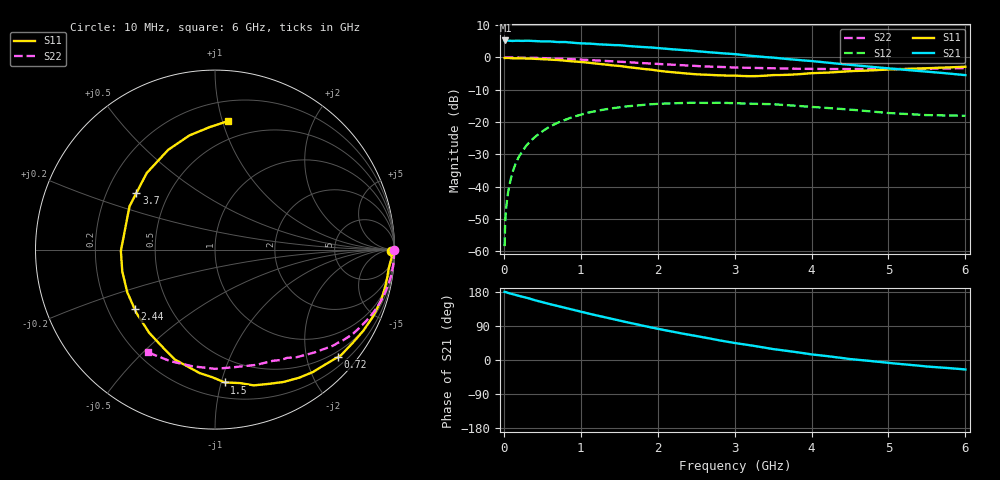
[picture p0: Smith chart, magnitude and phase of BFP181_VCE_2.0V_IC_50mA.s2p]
! Infineon Technologies  Discrete & RF Semiconductors
! BFP181
! VCE = 2.0 V,  IC =  50 mA
! Common Emitter S-Parameters:  Jan 2016
# GHz  S  MA  R  50
!  f  S11  S21  S12  S22
! GHz  MAG  ANG  MAG  ANG  MAG  ANG  MAG  ANG
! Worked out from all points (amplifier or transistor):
!   210 points, 10 MHz to 6 GHz, reference 50 ohm
!   highest |S21| = 5.3 dB at 20 MHz (marker M1)
!   |S21| within 3 dB of that: start of sweep to 2.343 GHz
!   unconditionally stable (mu >= 1): 3.623 GHz to end of sweep
!   at 185 MHz: K = 0.06, MSG = 18.2 dB, |S12| = -31.2 dB
!   at 1.52 GHz: K = 0.46, MSG = 9.6 dB, |S12| = -15.4 dB
!   at 6 GHz: K = 1.47, MAG = 2.2 dB, |S12| = -18.0 dB
!   S11 on the Smith chart (normalised r, x): 10 MHz: 81, -46; 720 MHz: 0.38, -2.62; 1.5 GHz: 0.31, -1.03; 2.44 GHz: 0.31, -0.30; 3.7 GHz: 0.33, +0.29; 6 GHz: 0.35, +1.04
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0.01  0.9815 -0.6  1.82 179.9  0.0012 85.2  0.9997 -0.2
0.015  0.9806 -0.9  1.827 179.7  0.0022 88.4  0.9996 -0.3
0.02  0.9797 -1.2  1.834 179.6  0.0032 89.6  0.9995 -0.5
0.045  0.9845 -2.4  1.826 177.8  0.0067 90.8  0.9987 -1.2
0.085  0.977 -4.8  1.804 175.4  0.0124 85.7  0.9982 -2.4
0.14  0.9725 -8.1  1.812 172.4  0.0208 84.1  0.9973 -3.8
0.19  0.9712 -10.9  1.816 169.6  0.0282 82.0  0.9962 -5.2
0.3  0.9672 -17.2  1.819 164.2  0.0444 77.6  0.9917 -8.3
0.4  0.9561 -22.9  1.799 158.0  0.0582 73.8  0.987 -11.1
0.72  0.91 -41.1  1.731 141.3  0.0998 61.0  0.9586 -19.5
1.02  0.849 -57.8  1.651 126.4  0.1321 49.8  0.9237 -26.8
1.1  0.8306 -62.6  1.645 122.4  0.1403 47.0  0.9142 -28.6
1.5  0.7422 -85.8  1.551 104.2  0.1687 33.8  0.8587 -37.3
2.02  0.6217 -116.9  1.393 81.6  0.1918 19.7  0.7935 -46.4
2.44  0.5563 -143.7  1.273 65.4  0.1987 9.4  0.7463 -53.6
2.8  0.5308 -166.7  1.173 51.9  0.1994 1.9  0.7168 -59.1
3.1  0.5166 175.3  1.094 42.0  0.1943 -3.8  0.6944 -63.9
3.7  0.5398 144.2  0.943 23.6  0.1822 -12.6  0.6731 -74.0
4.1  0.5761 128.2  0.856 12.6  0.1692 -17.4  0.6632 -81.8
4.5  0.6142 115.1  0.772 2.5  0.1561 -21.2  0.6642 -90.1
5.1  0.6565 100.5  0.662 -9.5  0.1362 -20.6  0.6617 -103.1
6  0.7185 84.4  0.533 -25.0  0.1253 -13.5  0.6836 -123.1
